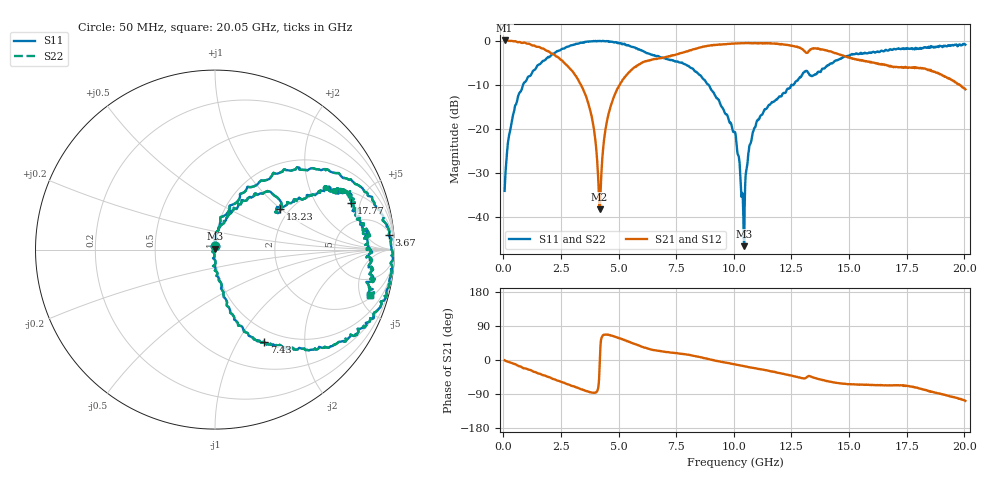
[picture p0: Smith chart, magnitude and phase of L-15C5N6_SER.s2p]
#	mhz	s	ma	r	50
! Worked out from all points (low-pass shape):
!   1001 points, 50 MHz to 20.05 GHz, reference 50 ohm
!   highest |S21| = 0.04 dB at 50 MHz (marker M1); lowest = -38.3 dB at 4.17 GHz (marker M2)
!   |S21| within 3 dB of the highest: start of sweep to 2.085 GHz; 7.621 GHz to 14.48 GHz (6.856 GHz wide, 62.1 % of centre)
!   lowest |S11| = -46.7 dB at 10.45 GHz (marker M3), VSWR 1.01, Z = 49.9 + j0.446 ohm
!   |S11| at or under -10 dB: start of sweep to 853.3 MHz; 8.891 GHz to 12.6 GHz (3.706 GHz wide, 34.5 % of centre)
!   |S22| runs from -46.7 to 0.0 dB; largest |S21 - S12| = 0
!   S11 on the Smith chart (normalised r, x): 50 MHz: 1.00, +0.04; 3.67 GHz: 7, +21; 7.43 GHz: 0.83, -1.30; 13.23 GHz: 1.80, +0.99; 17.77 GHz: 2.87, +4.11; 20.05 GHz: 2.29, -6.11
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50  0.01961 90.1  1.005 -0.8  1.005 -0.8  0.01961 90.1
410  0.1407 78.8  0.9894 -9.0  0.9894 -9.0  0.1407 78.8
930  0.3384 65.7  0.9503 -21.9  0.9503 -21.9  0.3384 65.7
2230  0.7267 38.0  0.6827 -51.3  0.6827 -51.3  0.7267 38.0
3390  0.9457 12.2  0.3038 -77.7  0.3038 -77.7  0.9457 12.2
3670  0.972 4.9  0.1993 -83.4  0.1993 -83.4  0.972 4.9
4170  0.9926 -7.4  0.0121 -18.6  0.0121 -18.6  0.9926 -7.4
4470  0.9873 -14.3  0.1132 67.3  0.1132 67.3  0.9873 -14.3
4910  0.9503 -23.8  0.2702 60.0  0.2702 60.0  0.9503 -23.8
6730  0.6665 -55.3  0.6259 24.1  0.6259 24.1  0.6665 -55.3
7430  0.5851 -62.1  0.6866 18.4  0.6866 18.4  0.5851 -62.1
8830  0.3253 -77.3  0.8713 3.6  0.8713 3.6  0.3253 -77.3
10050  0.0914 -94.2  0.9278 -11.8  0.9278 -11.8  0.0914 -94.2
10370  0.01856 -144.3  0.9344 -15.4  0.9344 -15.4  0.01856 -144.3
10450  0.00461 104.0  0.9346 -16.5  0.9346 -16.5  0.00461 104.0
10710  0.06686 95.5  0.9362 -19.3  0.9362 -19.3  0.06686 95.5
11050  0.1245 80.5  0.9277 -23.3  0.9277 -23.3  0.1245 80.5
13230  0.4284 31.6  0.7444 -42.6  0.7444 -42.6  0.4284 31.6
13390  0.3953 31.7  0.8098 -45.0  0.8098 -45.0  0.3953 31.7
16730  0.7772 23.9  0.5133 -67.3  0.5133 -67.3  0.7772 23.9
17770  0.8 18.8  0.491 -71.0  0.491 -71.0  0.8 18.8
20050  0.8999 -16.4  0.2794 -107.9  0.2794 -107.9  0.8999 -16.4
